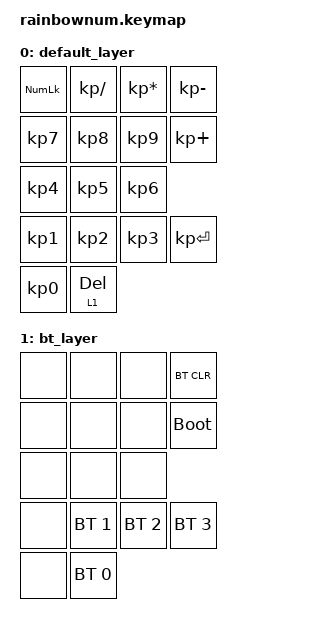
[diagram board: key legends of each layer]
#include <behaviors.dtsi>
#include <dt-bindings/zmk/keys.h>
#include <dt-bindings/zmk/bt.h>

/{
  keymap {
    compatible = "zmk,keymap";

    default_layer {
      bindings = <
        &kp KP_NUM &kp KP_DIVIDE &kp KP_MULTIPLY &kp KP_MINUS
        &kp KP_N7  &kp KP_N8     &kp KP_N9       &kp KP_PLUS
        &kp KP_N4  &kp KP_N5     &kp KP_N6
        &kp KP_N1  &kp KP_N2     &kp KP_N3       &kp KP_ENTER
        &kp KP_N0  &lt 1 DEL
      >;
    };

    bt_layer {
      bindings = <
        &none        &none        &none        &bt BT_CLR
        &none        &none        &none        &bootloader
        &none        &none        &none        &none
        &bt BT_SEL 1 &bt BT_SEL 2 &bt BT_SEL 3 &none
        &bt BT_SEL 0
      >;
    };
  };
};
